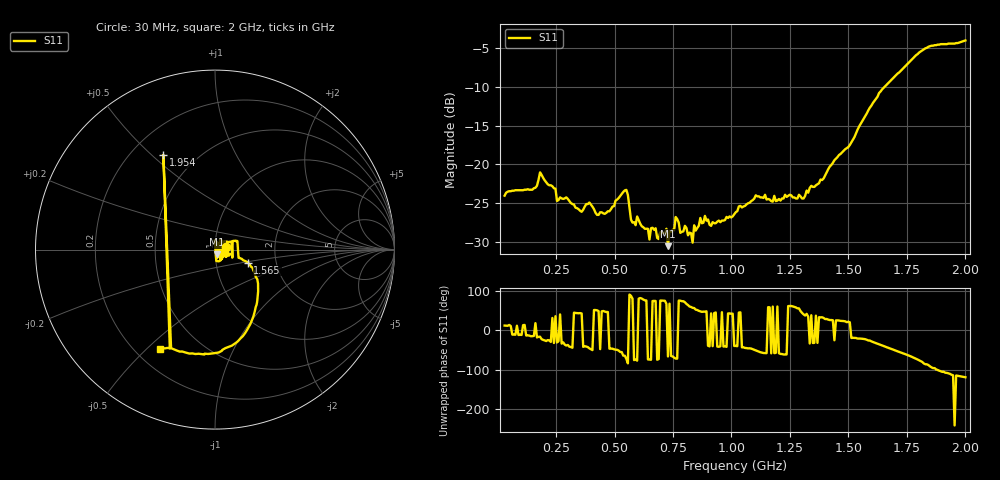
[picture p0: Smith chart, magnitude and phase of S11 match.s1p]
# Hz S DB R 50.000000
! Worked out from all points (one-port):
!   300 points, 30 MHz to 2 GHz, reference 50 ohm
!   lowest |S11| = -30.5 dB at 728.4 MHz (marker M1), VSWR 1.06, Z = 51.1 - j2.78 ohm
!   |S11| at or under -10 dB: start of sweep to 1.654 GHz
!   S11 on the Smith chart (normalised r, x): 30 MHz: 1.13, +0.03; 1.565 GHz: 1.43, -0.22; 1.954 GHz: 0.33, +0.55; 2 GHz: 0.30, -0.55
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3e7  -24.03 12.3
1.815385e8  -21.02 -16.0
2.803679e8  -24.45 -30.3
4.319064e8  -26.50 48.9
5.241472e8  -24.07 -54.7
5.505017e8  -23.28 -72.3
5.702676e8  -27.11 88.0
6.493311e8  -29.68 -73.9
7.21806e8  -28.30 67.4
7.283946e8  -30.54 -66.2
7.745151e8  -27.50 75.8
8.338127e8  -30.09 57.4
8.667559e8  -26.90 48.4
1.018294e9  -26.16 -39.2
1.169833e9  -24.73 -58.2
1.176421e9  -24.80 60.5
1.18301e9  -24.05 -57.7
1.196187e9  -24.66 60.7
1.235719e9  -24.18 -61.1
1.262074e9  -24.25 61.1
1.512441e9  -17.15 -19.2
1.565151e9  -14.11 -21.6
1.756221e9  -6.93 -63.3
1.841873e9  -4.83 -88.0
1.947291e9  -4.42 -114.0
1.95388e9  -4.42 118.6
1.960468e9  -4.35 -114.5
2e9  -4.01 -118.9
